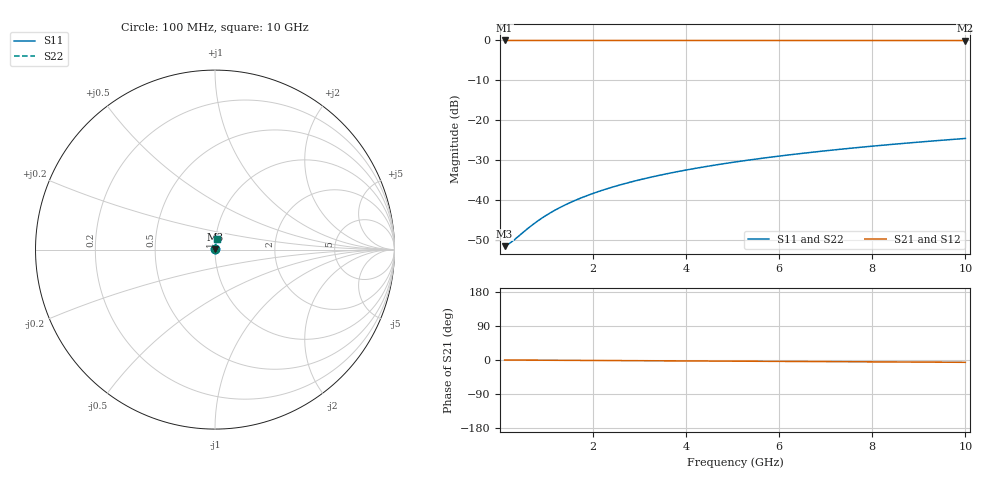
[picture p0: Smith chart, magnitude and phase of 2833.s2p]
# Hz S RI R 50.00
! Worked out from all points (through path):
!   100 points, 100 MHz to 10 GHz, reference 50 ohm
!   highest |S21| = -0.02 dB at 100 MHz (marker M1); lowest = 0.0 dB at 10 GHz (marker M2)
!   lowest |S11| = -51.5 dB at 100 MHz (marker M3), VSWR 1.01, Z = 50.3 + j0.0593 ohm
!   |S11| at or under -10 dB: start of sweep to end of sweep
!   |S22| runs from -51.5 to -24.5 dB; largest |S21 - S12| = 0
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1e8  0.00259 0.00059  0.9974 -0.00106  0.9974 -0.00106  0.00259 0.00059
2e8  0.00261 0.00118  0.9974 -0.00212  0.9974 -0.00212  0.00261 0.00118
3e8  0.00263 0.00177  0.9974 -0.00318  0.9974 -0.00318  0.00263 0.00177
7e8  0.00269 0.00413  0.9973 -0.00742  0.9973 -0.00742  0.00269 0.00413
8e8  0.0027 0.00472  0.9973 -0.00848  0.9973 -0.00848  0.0027 0.00472
1e9  0.00274 0.0059  0.9972 -0.0106  0.9972 -0.0106  0.00274 0.0059
1.2e9  0.00277 0.00708  0.9972 -0.0127  0.9972 -0.0127  0.00277 0.00708
1.4e9  0.00281 0.00826  0.9972 -0.0148  0.9972 -0.0148  0.00281 0.00826
1.6e9  0.00286 0.00944  0.9971 -0.0169  0.9971 -0.0169  0.00286 0.00944
1.8e9  0.00291 0.0106  0.997 -0.0191  0.997 -0.0191  0.00291 0.0106
2.1e9  0.00299 0.0124  0.9969 -0.0222  0.9969 -0.0222  0.00299 0.0124
2.5e9  0.00312 0.0147  0.9968 -0.0265  0.9968 -0.0265  0.00312 0.0147
2.9e9  0.00327 0.0171  0.9966 -0.0307  0.9966 -0.0307  0.00327 0.0171
3.4e9  0.00348 0.02  0.9964 -0.036  0.9964 -0.036  0.00348 0.02
3.8e9  0.00367 0.0224  0.9962 -0.0402  0.9962 -0.0402  0.00367 0.0224
4.2e9  0.00388 0.0247  0.9959 -0.0445  0.9959 -0.0445  0.00388 0.0247
5.1e9  0.00442 0.03  0.9953 -0.054  0.9953 -0.054  0.00442 0.03
5.9e9  0.00499 0.0347  0.9946 -0.0624  0.9946 -0.0624  0.00499 0.0347
6.7e9  0.00564 0.0394  0.9938 -0.0709  0.9938 -0.0709  0.00564 0.0394
7.5e9  0.00636 0.044  0.993 -0.0793  0.993 -0.0793  0.00636 0.044
8.4e9  0.00728 0.0493  0.9919 -0.0888  0.9919 -0.0888  0.00728 0.0493
1e10  0.00915 0.0585  0.9897 -0.1056  0.9897 -0.1056  0.00915 0.0585
